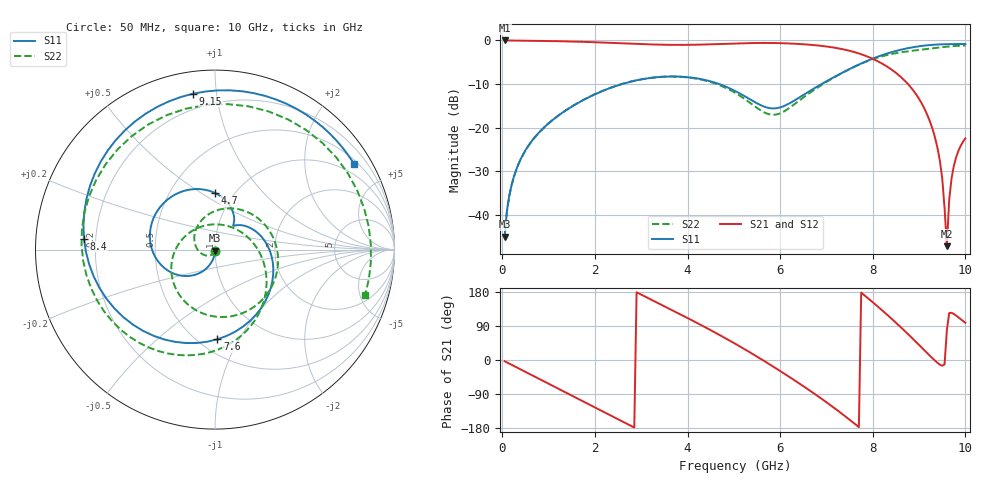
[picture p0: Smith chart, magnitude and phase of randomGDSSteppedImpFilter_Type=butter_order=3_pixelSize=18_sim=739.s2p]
! freq	dB(S11)	phase(S11)	dB(S12)	phase(S12)
!  dB(S21)	phase(S21)	dB(S22)	phase(S22)
!S-par simulation data
#  GHz  S  DB  R 50
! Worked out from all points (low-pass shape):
!   200 points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, 50 MHz to 10 GHz, reference 50 ohm
!   highest |S21| = -0.01 dB at 50 MHz (marker M1); lowest = -47.1 dB at 9.6 GHz (marker M2)
!   |S21| within 3 dB of the highest: start of sweep to 7.706 GHz
!   lowest |S11| = -44.9 dB at 50 MHz (marker M3), VSWR 1.01, Z = 50 - j0.568 ohm
!   |S11| at or under -10 dB: start of sweep to 2.582 GHz; 4.686 GHz to 6.891 GHz (2.205 GHz wide, 38.1 % of centre)
!   |S22| runs from -45.0 to -1.2 dB; largest |S21 - S12| = 0
!   S11 on the Smith chart (normalised r, x): 50 MHz: 1.00, -0.01; 4.7 GHz: 0.82, +0.57; 7.6 GHz: 0.61, -0.82; 8.4 GHz: 0.15, +0.04; 9.15 GHz: 0.11, +0.86; 10 GHz: 0.61, +3.41
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0.05  -44.91 -88.9  -0.01 -3.2  -0.01 -3.2  -45.01 -93.4
0.2  -33.11 -93.8  -0.02 -12.6  -0.02 -12.6  -33.20 -110.0
0.5  -25.15 -101.7  -0.06 -31.3  -0.06 -31.3  -25.22 -142.0
1.15  -17.68 -117.8  -0.16 -72.0  -0.16 -72.0  -17.68 152.0
1.75  -13.65 -135.0  -0.32 -109.6  -0.32 -109.6  -13.60 94.1
2.6  -9.94 -166.3  -0.67 -162.7  -0.67 -162.7  -9.91 19.9
3.4  -8.36 157.4  -0.97 148.0  -0.97 148.0  -8.36 -41.5
4.1  -8.53 121.8  -0.99 104.5  -0.99 104.5  -8.60 -91.7
4.7  -10.05 89.6  -0.82 65.5  -0.82 65.5  -10.28 -136.2
5.05  -11.69 71.9  -0.69 41.4  -0.69 41.4  -12.13 -165.7
5.85  -15.56 52.6  -0.59 -17.4  -0.59 -17.4  -17.03 91.3
6.7  -11.19 12.3  -1.04 -85.6  -1.04 -85.6  -11.56 -9.5
7.6  -6.02 -88.5  -2.66 -167.3  -2.66 -167.3  -6.04 -72.4
7.95  -4.37 -131.6  -3.98 157.6  -3.98 157.6  -4.48 -100.6
8.35  -2.86 -179.1  -6.27 115.1  -6.27 115.1  -3.24 -139.5
8.4  -2.70 175.2  -6.63 109.6  -6.63 109.6  -3.12 -145.0
8.8  -1.69 132.0  -10.47 63.8  -10.47 63.8  -2.43 164.2
9.15  -1.14 98.0  -16.39 21.3  -16.39 21.3  -1.99 110.0
9.45  -0.91 71.9  -27.62 -12.3  -27.62 -12.3  -1.60 60.6
9.6  -0.86 60.0  -47.09 78.8  -47.09 78.8  -1.42 37.2
9.7  -0.84 52.5  -31.67 124.6  -31.67 124.6  -1.33 22.5
10  -0.82 31.8  -22.41 98.1  -22.41 98.1  -1.17 -17.0
